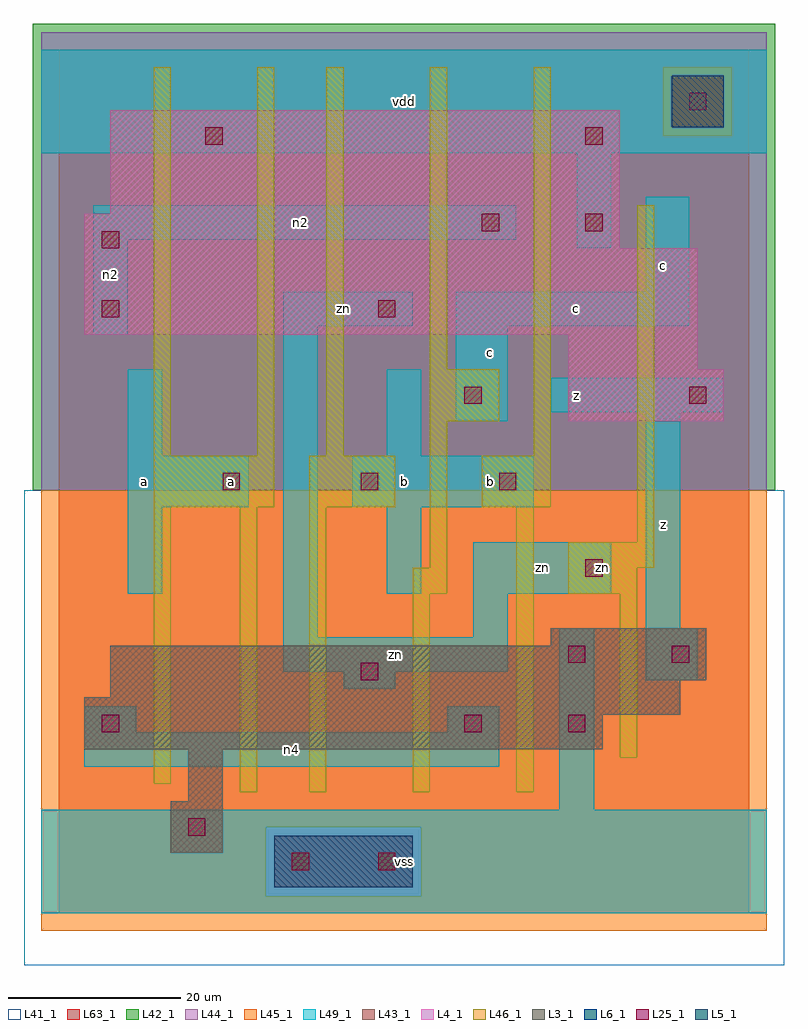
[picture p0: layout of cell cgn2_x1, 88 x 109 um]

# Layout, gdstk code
import gdstk
lib = gdstk.Library(unit=1e-6, precision=1e-09)
def R(c, l, rs):  # rectangles x0, y0, x1, y1
    for r in rs: c.add(gdstk.rectangle(r[:2], r[2:], *l))
def A(c, l, x, y, w, h, nx, ny, dx, dy):  # array of equal rectangles
    R(c, l, [(x+i*dx, y+j*dy, x+i*dx+w, y+j*dy+h) for i in range(nx) for j in range(ny)])
L3_1 = (3, 1)
L4_1 = (4, 1)
L5_1 = (5, 1)
L6_1 = (6, 1)
L25_1 = (25, 1)
L41_1 = (41, 1)
L42_1 = (42, 1)
L43_1 = (43, 1)
L44_1 = (44, 1)
L45_1 = (45, 1)
L46_1 = (46, 1)
L49_1 = (49, 1)
L63_1 = (63, 1)

cgn2_x1 = lib.new_cell('cgn2_x1')
R(cgn2_x1, L3_1, [(13,7,19,13), (15,13,19,19), (3,19,63,23), (3,23,72,25), (6,25,72,27), (6,27,75,31), (57,31,75,33)])
R(cgn2_x1, L4_1, [(59,57,77,63), (59,63,74,67), (3,67,74,77), (3,77,65,81), (6,81,65,93)])
R(cgn2_x1, L5_1, [(71,91,77,97)])
R(cgn2_x1, L6_1, [(25,3,41,9)])
A(cgn2_x1, L25_1, 19, 49, 2, 2, 3, 1, 16, 0)
R(cgn2_x1, L25_1, [(27,5,29,7), (37,5,39,7), (15,9,17,11), (5,21,7,23), (47,21,49,23), (59,21,61,23), (35,27,37,29), (59,29,61,31), (71,29,73,31), (61,39,63,41), (47,59,49,61), (73,59,75,61), (5,69,7,71), (37,69,39,71), (5,77,7,79), (49,79,51,81), (61,79,63,81), (17,89,19,91), (61,89,63,91), (73,93,75,95)])
R(cgn2_x1, L41_1, [(-4,-6,84,49), (-3,-3,83,49)])
R(cgn2_x1, L42_1, [(-3,49,83,103)])
R(cgn2_x1, L43_1, [(25,3,41,9), (13,7,19,13), (15,13,19,19), (3,19,63,23), (3,23,72,25), (6,25,72,27), (6,27,75,31), (57,31,75,33), (59,57,77,63), (59,63,74,67), (3,67,74,77), (3,77,65,81), (6,81,65,93), (71,91,77,97)])
R(cgn2_x1, L44_1, [(24,2,42,10), (-2,49,82,90), (-2,90,70,98), (78,90,82,98), (-2,98,82,102)])
R(cgn2_x1, L45_1, [(-2,-2,82,2), (-2,2,24,10), (42,2,82,10), (-2,10,82,49), (70,90,78,98)])
R(cgn2_x1, L46_1, [(21,14,23,47), (29,14,31,47), (41,14,43,37), (53,14,55,47), (11,15,13,47), (65,18,67,37), (41,37,45,40), (59,37,67,40), (43,40,45,57), (59,40,69,43), (67,43,69,82), (11,47,25,53), (29,47,39,53), (49,47,57,53), (11,53,13,98), (23,53,25,98), (31,53,33,98), (55,53,57,98), (43,57,51,63), (43,63,45,98)])
R(cgn2_x1, L49_1, [(-2,0,82,12), (58,12,62,33), (3,17,51,21), (3,21,9,24), (45,21,51,24), (33,26,39,28), (68,27,74,33), (26,28,52,32), (26,32,30,68), (48,32,52,37), (68,33,72,58), (8,37,12,47), (38,37,42,47), (48,37,64,43), (8,47,22,53), (34,47,55,53), (8,53,12,63), (38,53,42,63), (46,57,52,68), (57,58,77,62), (4,67,8,78), (26,68,41,72), (46,68,73,72), (68,72,73,83), (60,77,64,88), (4,78,53,82), (-2,88,82,100)])
R(cgn2_x1, L63_1, [(0,0,80,100)])
cgn2_x1.add(gdstk.Label('zn', (63,40), layer=49, texttype=1))
cgn2_x1.add(gdstk.Label('a', (10,50), layer=49, texttype=1))
cgn2_x1.add(gdstk.Label('a', (10,50), layer=49, texttype=1))
cgn2_x1.add(gdstk.Label('n2', (6,74), layer=49, texttype=1))
cgn2_x1.add(gdstk.Label('a', (20,50), layer=49, texttype=1))
cgn2_x1.add(gdstk.Label('a', (20,50), layer=49, texttype=1))
cgn2_x1.add(gdstk.Label('vss', (40,6), layer=49, texttype=1))
cgn2_x1.add(gdstk.Label('vss', (40,6), layer=49, texttype=1))
cgn2_x1.add(gdstk.Label('b', (40,50), layer=49, texttype=1))
cgn2_x1.add(gdstk.Label('b', (40,50), layer=49, texttype=1))
cgn2_x1.add(gdstk.Label('zn', (33,70), layer=49, texttype=1))
cgn2_x1.add(gdstk.Label('vdd', (40,94), layer=49, texttype=1))
cgn2_x1.add(gdstk.Label('vdd', (40,94), layer=49, texttype=1))
cgn2_x1.add(gdstk.Label('n4', (27,19), layer=49, texttype=1))
cgn2_x1.add(gdstk.Label('zn', (39,30), layer=49, texttype=1))
cgn2_x1.add(gdstk.Label('zn', (56,40), layer=49, texttype=1))
cgn2_x1.add(gdstk.Label('b', (50,50), layer=49, texttype=1))
cgn2_x1.add(gdstk.Label('b', (50,50), layer=49, texttype=1))
cgn2_x1.add(gdstk.Label('z', (60,60), layer=49, texttype=1))
cgn2_x1.add(gdstk.Label('z', (60,60), layer=49, texttype=1))
cgn2_x1.add(gdstk.Label('c', (50,65), layer=49, texttype=1))
cgn2_x1.add(gdstk.Label('c', (50,65), layer=49, texttype=1))
cgn2_x1.add(gdstk.Label('c', (60,70), layer=49, texttype=1))
cgn2_x1.add(gdstk.Label('c', (60,70), layer=49, texttype=1))
cgn2_x1.add(gdstk.Label('n2', (28,80), layer=49, texttype=1))
cgn2_x1.add(gdstk.Label('z', (70,45), layer=49, texttype=1))
cgn2_x1.add(gdstk.Label('z', (70,45), layer=49, texttype=1))
cgn2_x1.add(gdstk.Label('c', (70,75), layer=49, texttype=1))
cgn2_x1.add(gdstk.Label('c', (70,75), layer=49, texttype=1))

lib.write_gds('cgn2_x1.gds')
